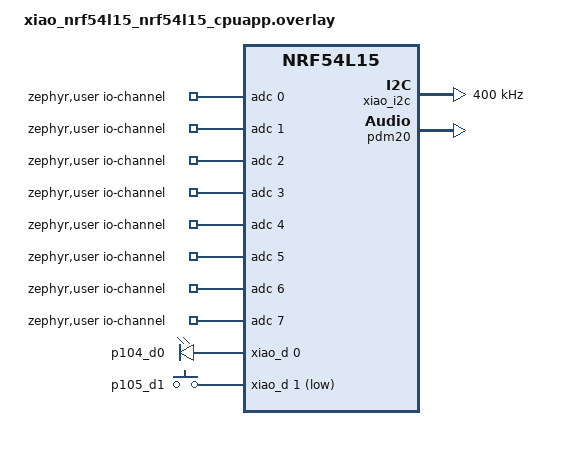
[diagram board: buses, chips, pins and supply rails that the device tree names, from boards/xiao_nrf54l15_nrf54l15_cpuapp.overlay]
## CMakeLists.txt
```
# SPDX-License-Identifier: Apache-2.0
set(BOARD_ROOT "$ENV{ZEPHYR_BASE}/../../platforms/Seeed Studio/zephyr")

cmake_minimum_required(VERSION 3.13.1)
# Boot-time reset reason readout, see lib/reset_reason
list(APPEND ZEPHYR_EXTRA_MODULES ${CMAKE_CURRENT_LIST_DIR}/../../lib/reset_reason)
find_package(Zephyr REQUIRED HINTS $ENV{ZEPHYR_BASE})
project(audio_visualizer)

file(GLOB U8G2_SOURCES
    ${CMAKE_CURRENT_SOURCE_DIR}/../../lib/u8g2/csrc/*.c
)

target_sources(app
  PRIVATE
    src/main.c
    ${U8G2_SOURCES}
)

target_include_directories(app 
  PRIVATE 
    ${CMAKE_CURRENT_SOURCE_DIR}/../../lib/u8g2/csrc
)
```

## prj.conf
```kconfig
CONFIG_I2C=y
CONFIG_GPIO=y
CONFIG_ADC=y
CONFIG_ADC_ASYNC=y
CONFIG_SENSOR=y
CONFIG_NEWLIB_LIBC=y
CONFIG_NEWLIB_LIBC_FLOAT_PRINTF=y
CONFIG_NEWLIB_LIBC_FLOAT_SCANF=y

# Audio/DMIC support
CONFIG_AUDIO=y
CONFIG_AUDIO_DMIC=y

# DSP/FFT support
CONFIG_CMSIS_DSP=y
CONFIG_CMSIS_DSP_TRANSFORM=y

CONFIG_MAIN_STACK_SIZE=8192
CONFIG_HEAP_MEM_POOL_SIZE=32768

CONFIG_LOG=y
# if no serial, must =n
CONFIG_SERIAL=n
CONFIG_CONSOLE=y
CONFIG_LOG_MODE_IMMEDIATE=y
CONFIG_LOG_DEFAULT_LEVEL=1
```

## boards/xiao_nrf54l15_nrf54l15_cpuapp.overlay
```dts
/ {
    zephyr,user {
		io-channels = <&adc 0>, <&adc 1>, <&adc 2>, <&adc 3>,
			<&adc 4>, <&adc 5>, <&adc 6>, <&adc 7>;
	};

    o_ports {
		compatible = "gpio-leds";

		p104_d0: p104_d0 {
			gpios = <&xiao_d 0 GPIO_ACTIVE_HIGH>;
		};
	};

	i_port {
		compatible = "gpio-keys";

		p105_d1: p105_d1 {
			gpios = <&xiao_d 1 (GPIO_PULL_UP | GPIO_ACTIVE_LOW)>;
			zephyr,code = <INPUT_KEY_ENTER>;
		};
	};

    aliases {
		p104d0 = &p104_d0;
		p105d1 = &p105_d1;
    };
};

&xiao_i2c {
    clock-frequency = <400000>;
    status = "okay";
};

dmic_dev: &pdm20 {
    status = "okay";
};
```

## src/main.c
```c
/*
 * Audio Visualizer for XIAO nRF54L15
 * Captures audio from DMIC, performs FFT, and displays mel-spectrogram on OLED
 */

#include <stddef.h>
#include <stdint.h>
#include <stdio.h>
#include <string.h>
#include <math.h>

#include <zephyr/kernel.h>
#include <zephyr/device.h>
#include <zephyr/drivers/i2c.h>
#include <zephyr/drivers/gpio.h>
#include <zephyr/audio/dmic.h>
#include <zephyr/logging/log.h>

// CMSIS-DSP for FFT
#include <arm_math.h>

// U8g2 for OLED display
#include "../../../lib/u8g2/csrc/u8g2.h"
#include "../../../lib/u8g2/csrc/u8x8.h"

LOG_MODULE_REGISTER(audio_viz, CONFIG_LOG_DEFAULT_LEVEL);

// ===================================================================================
// Audio Configuration
// ===================================================================================
#define SAMPLE_RATE      16000
#define SAMPLE_BIT_WIDTH 16
#define BYTES_PER_SAMPLE sizeof(int16_t)
#define READ_TIMEOUT     1000

// FFT Configuration
#define FFT_SIZE         512  // Must be power of 2
#define FFT_HALF         (FFT_SIZE / 2)
#define BLOCK_SIZE(_sample_rate, _number_of_channels) \
	(BYTES_PER_SAMPLE * (_sample_rate / 10) * _number_of_channels)

#define MAX_BLOCK_SIZE   BLOCK_SIZE(SAMPLE_RATE, 1)
#define BLOCK_COUNT      4
K_MEM_SLAB_DEFINE_STATIC(mem_slab, MAX_BLOCK_SIZE, BLOCK_COUNT, 4);

// Mel-spectrogram Configuration
#define MEL_BANDS        32  // Number of mel frequency bands to display
#define DISPLAY_WIDTH    128
#define DISPLAY_HEIGHT   64

// ===================================================================================
// GPIO Configuration
// ===================================================================================
static const struct gpio_dt_spec led_builtin = GPIO_DT_SPEC_GET(DT_ALIAS(led0), gpios);

// ===================================================================================
// I2C and Display Configuration
// ===================================================================================
const struct device *i2c22_dev = DEVICE_DT_GET(DT_NODELABEL(i2c22));

#define I2C_BUFFER_SIZE 64
static uint8_t i2c_buf[I2C_BUFFER_SIZE];
static uint8_t i2c_buf_len = 0;

uint8_t u8x8_byte_zephyr_hw_i2c(u8x8_t *u8x8, uint8_t msg, uint8_t arg_int, void *arg_ptr) {    
    switch (msg) {
    case U8X8_MSG_BYTE_INIT:
        return 1;
    case U8X8_MSG_BYTE_START_TRANSFER:
        i2c_buf_len = 0;
        return 1;
    case U8X8_MSG_BYTE_SEND:
        if (i2c_buf_len + arg_int > I2C_BUFFER_SIZE)
            return 0;
        memcpy(&i2c_buf[i2c_buf_len], arg_ptr, arg_int);
        i2c_buf_len += arg_int;
        return 1;
    case U8X8_MSG_BYTE_END_TRANSFER:
        i2c_write(i2c22_dev, i2c_buf, i2c_buf_len,
                  u8x8_GetI2CAddress(u8x8) >> 1);
        return 1;
    }
    return 0;
}

uint8_t u8x8_gpio_and_delay_zephyr(u8x8_t *u8x8, uint8_t msg, uint8_t arg_int, void *arg_ptr) {
    switch (msg) {
    case U8X8_MSG_GPIO_AND_DELAY_INIT:
        k_sleep(K_MSEC(1));
        break;
    case U8X8_MSG_DELAY_MILLI:
        k_sleep(K_MSEC(arg_int));
        break;
    case U8X8_MSG_GPIO_I2C_CLOCK:
    case U8X8_MSG_GPIO_I2C_DATA:
        break;
    }
    return 1;
}

static u8g2_t u8g2;

// ===================================================================================
// FFT and Audio Processing
// ===================================================================================
static float32_t fft_input[FFT_SIZE * 2];  // Complex input (real + imaginary)
static float32_t fft_output[FFT_SIZE];     // Magnitude output
static arm_rfft_fast_instance_f32 fft_instance;

// Mel filter bank (simplified - triangular filters)
static float mel_filterbank[MEL_BANDS][FFT_HALF];
static uint8_t mel_values[MEL_BANDS];

// Convert frequency to mel scale
static float hz_to_mel(float hz) {
    return 2595.0f * log10f(1.0f + hz / 700.0f);
}

// Convert mel scale to frequency
static float mel_to_hz(float mel) {
    return 700.0f * (powf(10.0f, mel / 2595.0f) - 1.0f);
}

// Initialize mel filterbank
static void init_mel_filterbank(void) {
    memset(mel_filterbank, 0, sizeof(mel_filterbank));
    
    float mel_min = hz_to_mel(0);
    float mel_max = hz_to_mel(SAMPLE_RATE / 2.0f);
    float mel_step = (mel_max - mel_min) / (MEL_BANDS + 1);
    
    for (int i = 0; i < MEL_BANDS; i++) {
        float mel_center = mel_min + (i + 1) * mel_step;
        float mel_left = mel_min + i * mel_step;
        float mel_right = mel_min + (i + 2) * mel_step;
        
        float hz_center = mel_to_hz(mel_center);
        float hz_left = mel_to_hz(mel_left);
        float hz_right = mel_to_hz(mel_right);
        
        int bin_left = (int)(hz_left * FFT_SIZE / SAMPLE_RATE);
        int bin_center = (int)(hz_center * FFT_SIZE / SAMPLE_RATE);
        int bin_right = (int)(hz_right * FFT_SIZE / SAMPLE_RATE);
        
        // Create triangular filter
        for (int j = bin_left; j < bin_center && j < FFT_HALF; j++) {
            mel_filterbank[i][j] = (float)(j - bin_left) / (bin_center - bin_left);
        }
        for (int j = bin_center; j < bin_right && j < FFT_HALF; j++) {
            mel_filterbank[i][j] = (float)(bin_right - j) / (bin_right - bin_center);
        }
    }
}

// Apply mel filterbank and compute band energies
static void compute_mel_spectrogram(float32_t *fft_mag) {
    for (int i = 0; i < MEL_BANDS; i++) {
        float energy = 0.0f;
        for (int j = 0; j < FFT_HALF; j++) {
            energy += fft_mag[j] * mel_filterbank[i][j];
        }
        
        // Convert to dB scale and normalize with wider dynamic range
        float db = 10.0f * log10f(energy + 1.0f);
        db = (db - 20.0f) / 80.0f * 255.0f;  // Wider range, higher threshold
        
        if (db < 0) db = 0;
        if (db > 255) db = 255;
        
        mel_values[i] = (uint8_t)db;
    }
}

// Draw spectrogram on OLED
static void draw_spectrogram(void) {
    u8g2_ClearBuffer(&u8g2);
    
    // Draw title
    u8g2_SetFont(&u8g2, u8g2_font_5x7_tr);
    u8g2_DrawStr(&u8g2, 0, 7, "Audio Visualizer");
    
    // Draw mel bands as vertical bars
    int bar_width = DISPLAY_WIDTH / MEL_BANDS;
    int max_height = DISPLAY_HEIGHT - 10;
    
    for (int i = 0; i < MEL_BANDS; i++) {
        int height = (mel_values[i] * max_height) / 255;
        int x = i * bar_width;
        int y = DISPLAY_HEIGHT - height;
        
        u8g2_DrawBox(&u8g2, x, y, bar_width - 1, height);
    }
    
    u8g2_SendBuffer(&u8g2);
}

// Process audio buffer with FFT
static void process_audio(int16_t *buffer, size_t sample_count) {
    // Copy samples to FFT input buffer (zero-pad if needed)
    size_t copy_count = (sample_count < FFT_SIZE) ? sample_count : FFT_SIZE;
    
    for (size_t i = 0; i < copy_count; i++) {
        fft_input[i] = (float32_t)buffer[i];
    }
    for (size_t i = copy_count; i < FFT_SIZE; i++) {
        fft_input[i] = 0.0f;
    }
    
    // Perform FFT
    arm_rfft_fast_f32(&fft_instance, fft_input, fft_output, 0);
    
    // Compute magnitude spectrum
    float32_t magnitudes[FFT_HALF];
    for (int i = 0; i < FFT_HALF; i++) {
        float real = fft_output[i * 2];
        float imag = fft_output[i * 2 + 1];
        magnitudes[i] = sqrtf(real * real + imag * imag);
    }
    
    // Compute mel spectrogram
    compute_mel_spectrogram(magnitudes);
    
    // Draw on display
    draw_spectrogram();
}

// ===================================================================================
// Main Application
// ===================================================================================
int main(void) {
    LOG_INF("Audio Visualizer Starting...");
    
    // Initialize LED
    if (!gpio_is_ready_dt(&led_builtin)) {
        LOG_ERR("LED device not ready");
        return -1;
    }
    gpio_pin_configure_dt(&led_builtin, GPIO_OUTPUT_INACTIVE);
    gpio_pin_set_dt(&led_builtin, 1);  // LED on during init
    
    // Initialize I2C for display
    if (!device_is_ready(i2c22_dev)) {
        LOG_ERR("I2C device not ready");
        return -1;
    }
    
    // Initialize U8g2 display
    u8g2_Setup_ssd1306_i2c_128x64_noname_f(&u8g2, U8G2_R0,
        u8x8_byte_zephyr_hw_i2c, u8x8_gpio_and_delay_zephyr);
    u8g2_SetI2CAddress(&u8g2, 0x3C << 1);
    u8g2_InitDisplay(&u8g2);
    u8g2_SetPowerSave(&u8g2, 0);
    u8g2_ClearDisplay(&u8g2);
    
    // Display startup message with branding
    u8g2_ClearBuffer(&u8g2);
    u8g2_SetFont(&u8g2, u8g2_font_ncenB08_tr);
    u8g2_DrawStr(&u8g2, 8, 20, "XIAO nRF54L15");
    u8g2_SetFont(&u8g2, u8g2_font_ncenB10_tr);
    u8g2_DrawStr(&u8g2, 10, 38, "Audio Vis");
    u8g2_SetFont(&u8g2, u8g2_font_5x7_tr);
    u8g2_DrawStr(&u8g2, 20, 55, "Initializing...");
    u8g2_SendBuffer(&u8g2);
    k_sleep(K_MSEC(2000));
    
    // Initialize FFT
    arm_rfft_fast_init_f32(&fft_instance, FFT_SIZE);
    
    // Initialize mel filterbank
    init_mel_filterbank();
    
    // Initialize DMIC
    const struct device *const dmic_dev = DEVICE_DT_GET(DT_NODELABEL(dmic_dev));
    if (!device_is_ready(dmic_dev)) {
        LOG_ERR("DMIC device not ready");
        u8g2_ClearBuffer(&u8g2);
        u8g2_SetFont(&u8g2, u8g2_font_5x7_tr);
        u8g2_DrawStr(&u8g2, 10, 30, "DMIC Error!");
        u8g2_SendBuffer(&u8g2);
        return -1;
    }
    
    // Configure DMIC
    struct pcm_stream_cfg stream = {
        .pcm_width = SAMPLE_BIT_WIDTH,
        .mem_slab  = &mem_slab,
    };
    
    struct dmic_cfg cfg = {
        .io = {
            .min_pdm_clk_freq = 1000000,
            .max_pdm_clk_freq = 3500000,
            .min_pdm_clk_dc   = 40,
            .max_pdm_clk_dc   = 60,
        },
        .streams = &stream,
        .channel = {
            .req_num_streams = 1,
            .req_num_chan = 1,
        },
    };
    
    cfg.channel.req_chan_map_lo = dmic_build_channel_map(0, 0, PDM_CHAN_LEFT);
    cfg.streams[0].pcm_rate = SAMPLE_RATE;
    cfg.streams[0].block_size = BLOCK_SIZE(cfg.streams[0].pcm_rate, cfg.channel.req_num_chan);
    
    int ret = dmic_configure(dmic_dev, &cfg);
    if (ret < 0) {
        LOG_ERR("Failed to configure DMIC: %d", ret);
        return -1;
    }
    
    ret = dmic_trigger(dmic_dev, DMIC_TRIGGER_START);
    if (ret < 0) {
        LOG_ERR("Failed to start DMIC: %d", ret);
        return -1;
    }
    
    gpio_pin_set_dt(&led_builtin, 0);  // LED off - ready
    LOG_INF("Audio capture started!");
    
    // Main loop - capture audio and visualize
    while (1) {
        void *buffer;
        uint32_t size;
        
        ret = dmic_read(dmic_dev, 0, &buffer, &size, READ_TIMEOUT);
        if (ret < 0) {
            LOG_ERR("DMIC read failed: %d", ret);
            k_sleep(K_MSEC(100));
            continue;
        }
        
        // Process audio and update display
        size_t sample_count = size / BYTES_PER_SAMPLE;
        process_audio((int16_t *)buffer, sample_count);
        
        k_mem_slab_free(&mem_slab, buffer);
    }
    
    return 0;
}
```
